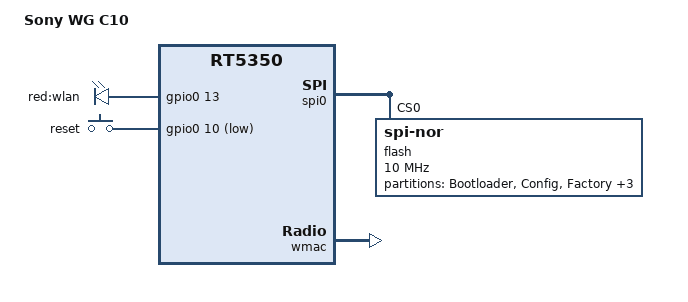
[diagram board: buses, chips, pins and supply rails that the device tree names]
#include "rt5350.dtsi"

#include <dt-bindings/gpio/gpio.h>
#include <dt-bindings/input/input.h>

/ {
	compatible = "sony,wg-c10", "ralink,rt5350-soc";
	model = "Sony WG C10";

	chosen {
		bootargs = "console=ttyS0,57600n8 root=/dev/mtdblock5";
	};

	leds {
		compatible = "gpio-leds";

		wlan {
			label = "red:wlan";
			gpios = <&gpio0 13 GPIO_ACTIVE_HIGH>;
		};
	};

	keys {
		compatible = "gpio-keys-polled";
		poll-interval = <20>;

		reset {
			label = "reset";
			gpios = <&gpio0 10 GPIO_ACTIVE_LOW>;
			linux,code = <KEY_RESTART>;
		};
	};
};

&spi0 {
	status = "okay";

	flash@0 {
		compatible = "jedec,spi-nor";
		reg = <0>;
		spi-max-frequency = <10000000>;

		partitions {
			compatible = "fixed-partitions";
			#address-cells = <1>;
			#size-cells = <1>;

			partition@0 {
				label = "Bootloader";
				reg = <0x0 0x30000>;
				read-only;
			};

			partition@1 {
				label = "Config";
				reg = <0x30000 0x10000>;
				read-only;
			};

			factory: partition@2 {
				label = "Factory";
				reg = <0x40000 0x10000>;
				read-only;
			};

			partition@3 {
				compatible = "denx,uimage";
				label = "firmware";
				reg = <0x50000 0x790000>;
			};

			partition@4 {
				label = "nvram";
				reg = <0x7e0000 0x10000>;
				read-only;
			};

			partition@5 {
				label = "nvram_backup";
				reg = <0x7f0000 0x10000>;
				read-only;
			};
		};
	};
};

&state_default {
	gpio {
		groups = "i2c", "uartf";
		function = "gpio";
	};
};

&ethernet {
	status = "disabled";
};

&esw {
	status = "disabled";
};

&wmac {
	ralink,mtd-eeprom = <&factory 0x0>;
};
